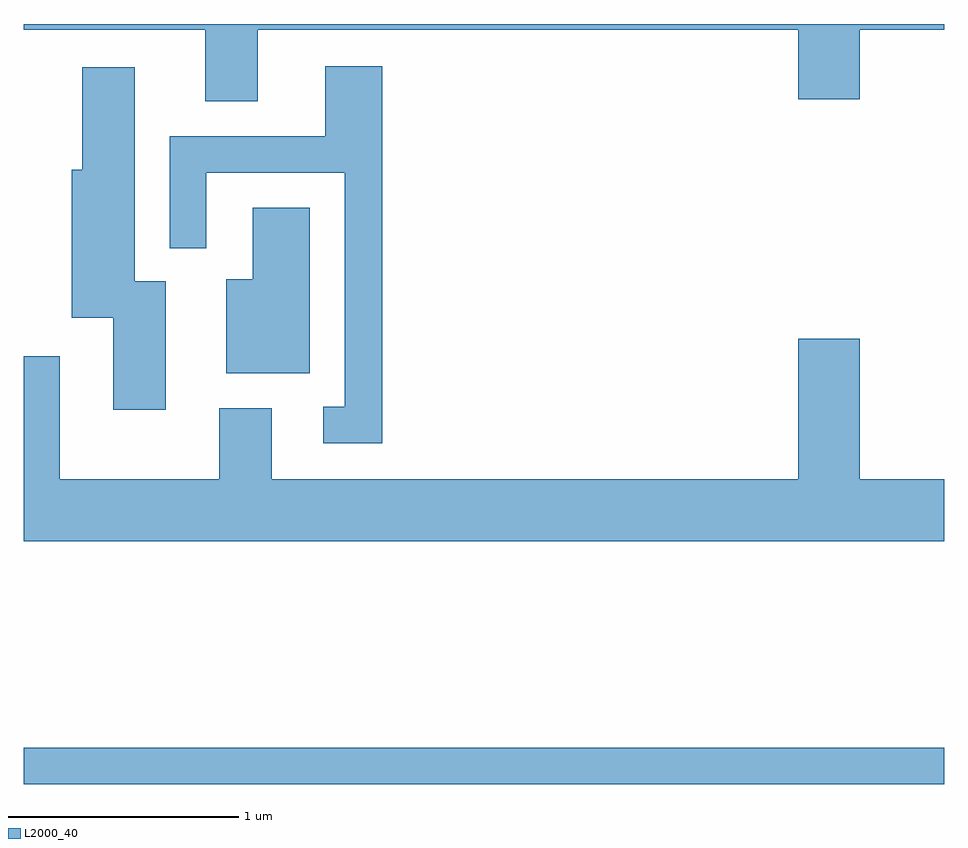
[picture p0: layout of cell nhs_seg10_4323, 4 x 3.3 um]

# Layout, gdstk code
import gdstk
lib = gdstk.Library(unit=1e-6, precision=1e-09)
def R(c, l, rs):  # rectangles x0, y0, x1, y1
    for r in rs: c.add(gdstk.rectangle(r[:2], r[2:], *l))
def P(c, l, *ps):  # polygons
    for p in ps: c.add(gdstk.Polygon(p, *l))
L2000_40 = (2000, 40)

nhs_seg10_4323 = lib.new_cell('nhs_seg10_4323')
R(nhs_seg10_4323, L2000_40, [(311.611,2197.221,315.611,2197.379)])
P(nhs_seg10_4323, L2000_40, [(312.629,2200.496),(314.976,2200.496),(314.976,2200.196),(315.244,2200.196),(315.244,2200.496),(315.611,2200.496),(315.611,2200.522),(311.611,2200.522),(311.611,2200.496),(312.401,2200.496),(312.401,2200.186),(312.629,2200.186)],
  [(313.169,2200.339),(312.921,2200.339),(312.921,2200.034),(312.246,2200.034),(312.246,2199.548),(312.404,2199.548),(312.404,2199.876),(313.006,2199.876),(313.006,2198.859),(312.913,2198.859),(312.913,2198.701),(313.169,2198.701)],
  [(312.229,2199.404),(312.094,2199.404),(312.094,2200.334),(311.866,2200.334),(311.866,2199.889),(311.821,2199.889),(311.821,2199.246),(312.001,2199.246),(312.001,2198.846),(312.229,2198.846)],
  [(312.854,2199.724),(312.606,2199.724),(312.606,2199.414),(312.491,2199.414),(312.491,2199.006),(312.854,2199.006)],
  [(315.611,2198.544),(315.244,2198.544),(315.244,2199.154),(314.976,2199.154),(314.976,2198.544),(312.689,2198.544),(312.689,2198.854),(312.461,2198.854),(312.461,2198.544),(311.769,2198.544),(311.769,2199.079),(311.611,2199.079),(311.611,2198.276),(315.611,2198.276)])

lib.write_gds('nhs_seg10_4323.gds')
